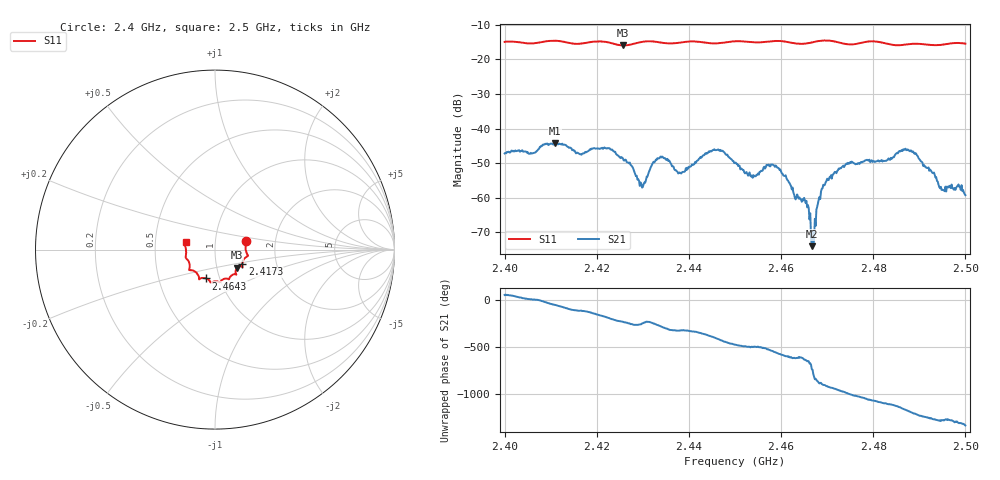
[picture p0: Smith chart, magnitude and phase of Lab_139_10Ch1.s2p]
# Hz S RI R 50
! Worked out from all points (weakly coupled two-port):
!   601 points, 2.4 GHz to 2.5 GHz, reference 50 ohm
!   highest |S21| = -44.30 dB at 2.4108 GHz (marker M1); lowest = -74.1 dB at 2.4667 GHz (marker M2)
!   lowest |S11| = -15.9 dB at 2.4257 GHz (marker M3), VSWR 1.38, Z = 62.5 - j13 ohm
!   |S11| at or under -10 dB: start of sweep to end of sweep
!   S12 and S22 are empty: the file has one direction only
!   S11 on the Smith chart (normalised r, x): 2.4 GHz: 1.41, +0.14; 2.4173 GHz: 1.34, -0.23; 2.4643 GHz: 0.86, -0.28; 2.5 GHz: 0.72, +0.06
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2.4e9  0.1728 0.0493  0.00249 0.00358  0 0  0 0
2.410833e9  0.1835 -0.0346  0.00393 -0.00466  0 0  0 0
2.416667e9  0.1529 -0.074  -0.00149 -0.0039  0 0  0 0
2.417333e9  0.1519 -0.0817  -0.00198 -0.00395  0 0  0 0
2.425667e9  0.123 -0.1015  -0.00242 0.00281  0 0  0 0
2.429833e9  0.117 -0.136  -0.000557 0.00128  0 0  0 0
2.433333e9  0.1136 -0.1372  -0.000203 0.00369  0 0  0 0
2.438e9  0.0823 -0.1543  0.00188 0.00133  0 0  0 0
2.445667e9  0.0503 -0.163  0.00369 -0.00322  0 0  0 0
2.45e9  0.0288 -0.1812  -0.00124 -0.00295  0 0  0 0
2.453833e9  0.0121 -0.177  -0.00146 -0.00127  0 0  0 0
2.4585e9  -0.0211 -0.1835  -0.00287 0.000553  0 0  0 0
2.464333e9  -0.0499 -0.1607  -0.000324 0.000888  0 0  0 0
2.4655e9  -0.0635 -0.158  0.000173 0.000882  0 0  0 0
2.466667e9  -0.0761 -0.159  0.000192 -4.7e-05  0 0  0 0
2.468667e9  -0.0876 -0.1649  -0.00115 -0.000426  0 0  0 0
2.470333e9  -0.0883 -0.1655  -0.00165 0.000708  0 0  0 0
2.475e9  -0.1062 -0.1262  0.0007 0.00319  0 0  0 0
2.483333e9  -0.1407 -0.0896  0.00327 -0.00172  0 0  0 0
2.488167e9  -0.1606 -0.0485  -0.00177 -0.0045  0 0  0 0
2.495e9  -0.1634 0.00993  -0.00124 0.00039  0 0  0 0
2.5e9  -0.1639 0.0431  -0.00032 0.00104  0 0  0 0
